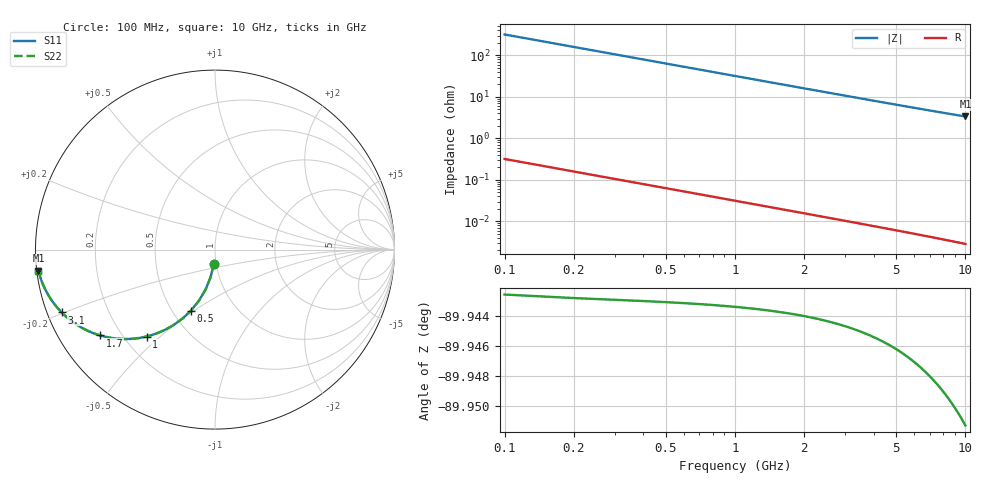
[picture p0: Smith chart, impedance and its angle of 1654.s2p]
# Hz S RI R 50.00
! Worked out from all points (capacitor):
!   100 points, 100 MHz to 10 GHz, reference 50 ohm
!   read as one part in shunt: C = 5 pF near 100 MHz
!   lowest |Z| = 3.37 ohm at 10 GHz (marker M1)
!   S11 on the Smith chart (normalised r, x): 100 MHz: 0.98, -0.15; 500 MHz: 0.62, -0.48; 1 GHz: 0.29, -0.45; 1.7 GHz: 0.12, -0.33; 3.1 GHz: 0.04, -0.20; 10 GHz: 0.00, -0.06
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1e8  -0.00619 -0.078  0.9938 -0.0781  0.9938 -0.0781  -0.00619 -0.078
2e8  -0.0242 -0.1531  0.9758 -0.1534  0.9758 -0.1534  -0.0242 -0.1531
3e8  -0.0528 -0.2229  0.9472 -0.2233  0.9472 -0.2233  -0.0528 -0.2229
4e8  -0.09 -0.2854  0.91 -0.286  0.91 -0.286  -0.09 -0.2854
5e8  -0.1337 -0.3395  0.8662 -0.3402  0.8662 -0.3402  -0.1337 -0.3395
6e8  -0.1818 -0.3847  0.8182 -0.3856  0.8182 -0.3856  -0.1818 -0.3847
7e8  -0.232 -0.4211  0.7679 -0.4222  0.7679 -0.4222  -0.232 -0.4211
8e8  -0.2829 -0.4493  0.7171 -0.4505  0.7171 -0.4505  -0.2829 -0.4493
1e9  -0.381 -0.4844  0.6189 -0.4859  0.6189 -0.4859  -0.381 -0.4844
1.3e9  -0.5095 -0.4984  0.4904 -0.5004  0.4904 -0.5004  -0.5095 -0.4984
1.5e9  -0.5801 -0.4919  0.4198 -0.4941  0.4198 -0.4941  -0.5801 -0.4919
1.7e9  -0.6394 -0.4784  0.3606 -0.4809  0.3606 -0.4809  -0.6394 -0.4784
1.8e9  -0.6652 -0.4701  0.3347 -0.4727  0.3347 -0.4727  -0.6652 -0.4701
2.1e9  -0.7298 -0.442  0.2701 -0.4451  0.2701 -0.4451  -0.7298 -0.442
2.4e9  -0.7789 -0.4126  0.221 -0.4162  0.221 -0.4162  -0.7789 -0.4126
3.1e9  -0.8543 -0.3499  0.1456 -0.3546  0.1456 -0.3546  -0.8543 -0.3499
3.4e9  -0.8757 -0.3268  0.1242 -0.3319  0.1242 -0.3319  -0.8757 -0.3268
4.2e9  -0.9148 -0.2755  0.0852 -0.2818  0.0852 -0.2818  -0.9148 -0.2755
5.1e9  -0.9405 -0.2321  0.0594 -0.2399  0.0594 -0.2399  -0.9405 -0.2321
6.7e9  -0.9647 -0.1788  0.0353 -0.1892  0.0353 -0.1892  -0.9647 -0.1788
8.4e9  -0.9773 -0.1417  0.0226 -0.1548  0.0226 -0.1548  -0.9773 -0.1417
1e10  -0.9839 -0.1169  0.0159 -0.1327  0.0159 -0.1327  -0.9839 -0.1169
